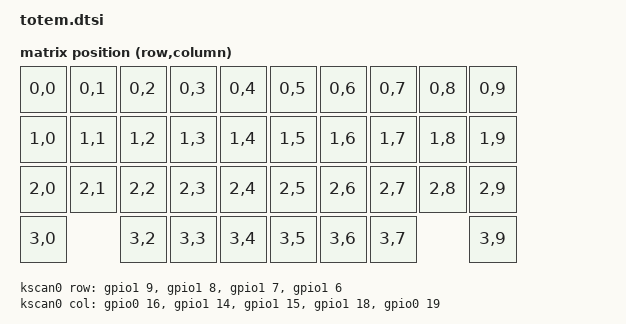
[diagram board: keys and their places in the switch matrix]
/*
 * Copyright (c) 2022 The ZMK Contributors
 *
 * SPDX-License-Identifier: MIT
 */

#include <dt-bindings/zmk/matrix_transform.h>

/ {

    /*
    behaviors {
        hml: home_row_mod_left {
            compatible = "zmk,behavior-hold-tap";
            #binding-cells = <2>;
            flavor = "balanced";
            require-prior-idle-ms = <150>;
            tapping-term-ms = <280>;
            quick-tap-ms = <175>;
            bindings = <&kp>, <&kp>;
            hold-trigger-key-positions = < 6 7 8 9 10 11  18 19 20 21 22 23  30 31 32 33 34 35 >; // List of keys on the right side of the keyboard
            hold-trigger-on-release;
        };
        hmr: home_row_mod_right {
            compatible = "zmk,behavior-hold-tap";
            #binding-cells = <2>;
            flavor = "balanced";
            require-prior-idle-ms = <150>;
            tapping-term-ms = <280>;
            quick-tap-ms = <175>;
            bindings = <&kp>, <&kp>;
            hold-trigger-key-positions = < 0 1 2 3 4 5  12 13 14 15 16 17  24 25 26 27 28 29 >; // List of keys on the left side of the keyboard
            hold-trigger-on-release;
        };
    };
    */

    chosen {
        zmk,kscan = &kscan0;
        zmk,physical-layout = &physical_layout0;
    };

    physical_layout0: physical_layout_0 { // First physical layout, use different naming for other layouts
        compatible = "zmk,physical-layout";
        display-name = "Default Layout";
        kscan = <&kscan0>; // Label of the kscan node, optional if all layouts use the same
        transform = <&default_transform>; // Label of the matrix transform for this layout
    };

    default_transform: keymap_transform_0 {
        compatible = "zmk,matrix-transform";
        columns = <10>;
        rows = <4>;
//        | SW1  | SW2  | SW3  | SW4  | SW5  |   | SW5  | SW4  | SW3  | SW2  | SW1  |
//        | SW6  | SW7  | SW8  | SW9  | SW10 |   | SW10 | SW9  | SW8  | SW7  | SW6  |
//        | SW11 | SW12 | SW13 | SW14 | SW15 |   | SW15 | SW14 | SW13 | SW12 | SW11 |
//        | SW16 |      | SW17 | SW18 | SW19 |   | SW19 | SW18 | SW17 |      | SW16 |
        map = <
            RC(0,0) RC(0,1) RC(0,2) RC(0,3) RC(0,4)  RC(0,5) RC(0,6) RC(0,7) RC(0,8) RC(0,9) 
            RC(1,0) RC(1,1) RC(1,2) RC(1,3) RC(1,4)  RC(1,5) RC(1,6) RC(1,7) RC(1,8) RC(1,9) 
            RC(2,0) RC(2,1) RC(2,2) RC(2,3) RC(2,4)  RC(2,5) RC(2,6) RC(2,7) RC(2,8) RC(2,9) 
            RC(3,0)         RC(3,2) RC(3,3) RC(3,4)  RC(3,5) RC(3,6) RC(3,7)         RC(3,9) 
        >;
    };

    kscan0: kscan {
        compatible = "zmk,kscan-gpio-matrix";
        label = "KSCAN0";
        diode-direction = "col2row";
        wakeup-source;

        row-gpios
            = <&gpio1 9 (GPIO_ACTIVE_HIGH | GPIO_PULL_DOWN)>
            , <&gpio1 8 (GPIO_ACTIVE_HIGH | GPIO_PULL_DOWN)>
            , <&gpio1 7 (GPIO_ACTIVE_HIGH | GPIO_PULL_DOWN)>
            , <&gpio1 6 (GPIO_ACTIVE_HIGH | GPIO_PULL_DOWN)>
            ;

        col-gpios
            = <&gpio0 16 GPIO_ACTIVE_HIGH>
            , <&gpio1 14 GPIO_ACTIVE_HIGH>
            , <&gpio1 15 GPIO_ACTIVE_HIGH>
            , <&gpio1 18 GPIO_ACTIVE_HIGH>
            , <&gpio0 19 GPIO_ACTIVE_HIGH>
            ;
    };
};

